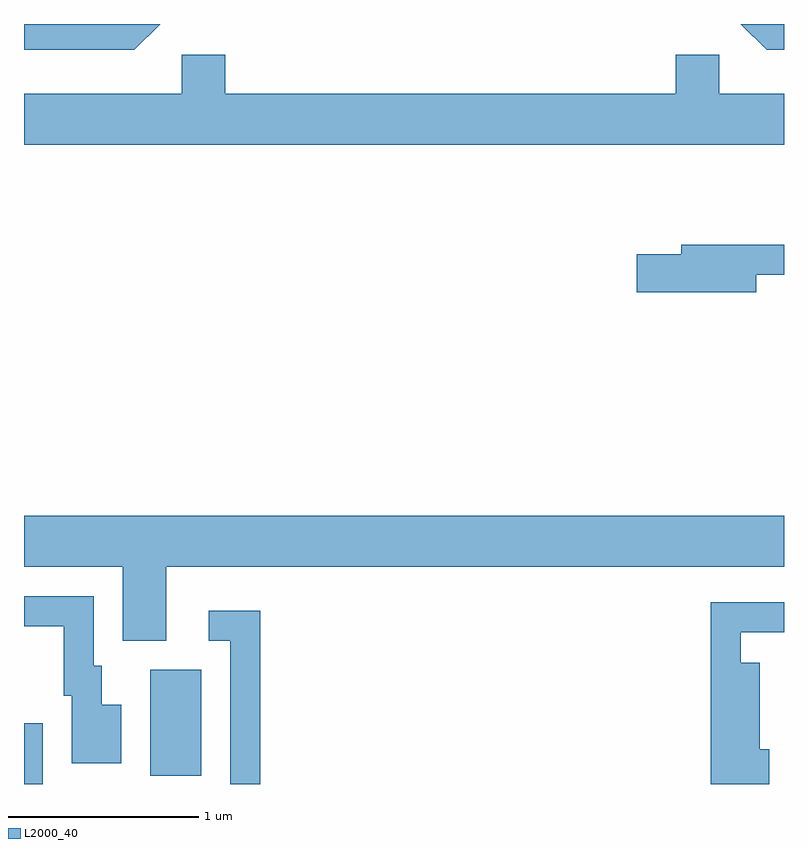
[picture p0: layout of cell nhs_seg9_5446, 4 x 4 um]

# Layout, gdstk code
import gdstk
lib = gdstk.Library(unit=1e-6, precision=1e-09)
def R(c, l, rs):  # rectangles x0, y0, x1, y1
    for r in rs: c.add(gdstk.rectangle(r[:2], r[2:], *l))
def P(c, l, *ps):  # polygons
    for p in ps: c.add(gdstk.Polygon(p, *l))
L2000_40 = (2000, 40)

nhs_seg9_5446 = lib.new_cell('nhs_seg9_5446')
R(nhs_seg9_5446, L2000_40, [(345.611,2008.432,345.709,2008.753), (346.276,2008.476,346.544,2009.034)])
P(nhs_seg9_5446, L2000_40, [(349.611,2012.432),(349.383,2012.432),(349.519,2012.296),(349.611,2012.296)],
  [(346.327,2012.432),(345.611,2012.432),(345.611,2012.296),(346.192,2012.296)],
  [(349.611,2012.064),(349.269,2012.064),(349.269,2012.269),(349.041,2012.269),(349.041,2012.064),(346.669,2012.064),(346.669,2012.269),(346.441,2012.269),(346.441,2012.064),(345.611,2012.064),(345.611,2011.796),(349.611,2011.796)],
  [(349.464,2011.111),(349.611,2011.111),(349.611,2011.269),(349.071,2011.269),(349.071,2011.219),(348.836,2011.219),(348.836,2011.021),(349.464,2011.021)],
  [(346.359,2009.576),(349.611,2009.576),(349.611,2009.844),(345.611,2009.844),(345.611,2009.576),(346.131,2009.576),(346.131,2009.186),(346.359,2009.186)],
  [(346.124,2008.849),(346.019,2008.849),(346.019,2009.054),(345.979,2009.054),(345.979,2009.419),(345.611,2009.419),(345.611,2009.261),(345.821,2009.261),(345.821,2008.896),(345.861,2008.896),(345.861,2008.541),(346.124,2008.541)],
  [(349.534,2008.614),(349.484,2008.614),(349.484,2009.069),(349.384,2009.069),(349.384,2009.231),(349.611,2009.231),(349.611,2009.389),(349.226,2009.389),(349.226,2008.432),(349.534,2008.432)],
  [(346.854,2009.344),(346.583,2009.344),(346.583,2009.186),(346.696,2009.186),(346.696,2008.432),(346.854,2008.432)])

lib.write_gds('nhs_seg9_5446.gds')
